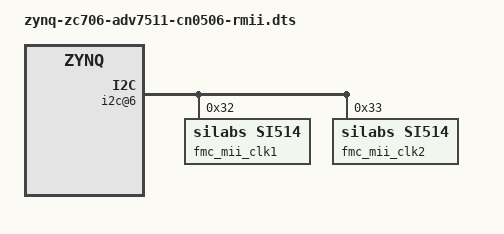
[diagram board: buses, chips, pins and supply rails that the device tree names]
// SPDX-License-Identifier: GPL-2.0
/*
 * ADIN PHY FMC board
 * https://wiki.analog.com/resources/tools-software/linux-drivers/net-phy/adin
 *
 * hdl_project: <cn0506_rmii/zc706>
 * board_revision: <>
 *
 * Copyright 2020 Analog Devices Inc.
 */
/dts-v1/;

#include "zynq-zc706.dtsi"
#include "zynq-zc706-adv7511.dtsi"
#include "adi-cn0506-rmii.dtsi"

&i2c_mux {
	i2c@6 {
		#address-cells = <1>;
		#size-cells = <0>;
		reg = <6>;

		fmc_mii_clk1: clock-generator@32 {
			#clock-cells = <0>;
			compatible = "silabs,si514";
			reg = <0x32>;
			clock-output-names = "si514_fmc_mii_clk1";
			assigned-clocks = <&fmc_mii_clk1>;
			assigned-clock-rates = <50000000>;
		};

		fmc_mii_clk2: clock-generator@33 {
			#clock-cells = <0>;
			compatible = "silabs,si514";
			reg = <0x33>;
			clock-output-names = "si514_fmc_mii_clk2";
			assigned-clocks = <&fmc_mii_clk2>;
			assigned-clock-rates = <50000000>;
		};
	};
};
